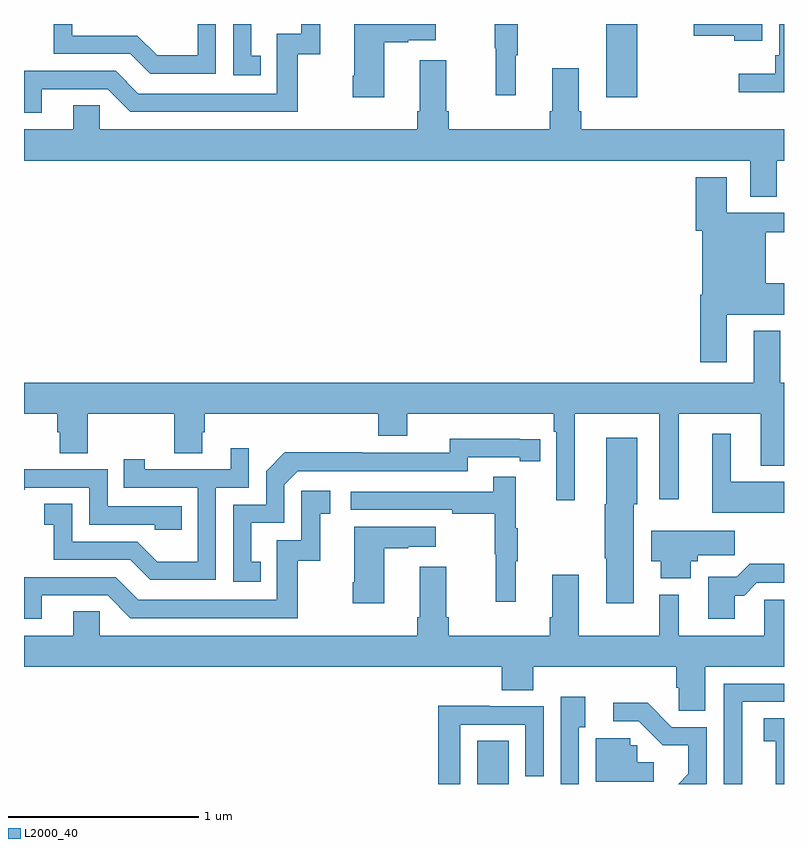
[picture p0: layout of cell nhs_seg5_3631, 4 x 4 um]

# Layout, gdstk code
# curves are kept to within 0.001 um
import gdstk
lib = gdstk.Library(unit=1e-6, precision=1e-09)
def R(c, l, rs):  # rectangles x0, y0, x1, y1
    for r in rs: c.add(gdstk.rectangle(r[:2], r[2:], *l))
def P(c, l, *ps):  # polygons
    for p in ps: c.add(gdstk.Polygon(p, *l))
L2000_40 = (2000, 40)

nhs_seg5_3631 = lib.new_cell('nhs_seg5_3631')
R(nhs_seg5_3631, L2000_40, [(327.386,866.799,327.55,867.026), (328.064,870.414,328.228,870.799)])
P(nhs_seg5_3631, L2000_40, [(328.885,870.799),(328.524,870.799),(328.524,870.737),(328.739,870.737),(328.739,870.71),(328.885,870.71)],
  [(325.093,870.456),(325.44,870.456),(325.56,870.336),(326.44,870.336),(326.44,870.639),(326.558,870.639),(326.558,870.799),(326.46,870.799),(326.46,870.747),(326.331,870.747),(326.331,870.432),(325.602,870.432),(325.482,870.552),(325,870.552),(325,870.333),(325.093,870.333)],
  [(326.01,870.799),(325.914,870.799),(325.914,870.634),(325.7,870.634),(325.596,870.738),(325.254,870.738),(325.254,870.799),(325.156,870.799),(325.156,870.642),(325.559,870.642),(325.664,870.537),(326.01,870.537)],
  [(326.246,870.633),(326.197,870.633),(326.197,870.799),(326.1,870.799),(326.1,870.528),(326.246,870.528)],
  [(327.587,870.635),(327.598,870.635),(327.598,870.799),(327.477,870.799),(327.477,870.672),(327.484,870.672),(327.484,870.423),(327.587,870.423)],
  [(326.896,870.703),(327.023,870.703),(327.023,870.713),(327.166,870.713),(327.166,870.799),(326.738,870.799),(326.738,870.526),(326.731,870.526),(326.731,870.414),(326.896,870.414)],
  [(329,870.799),(328.974,870.799),(328.974,870.634),(328.954,870.634),(328.954,870.538),(328.761,870.538),(328.761,870.44),(329,870.44)],
  [(328.963,870.08),(329,870.08),(329,870.244),(327.932,870.244),(327.932,870.34),(327.919,870.34),(327.919,870.565),(327.779,870.565),(327.779,870.34),(327.767,870.34),(327.767,870.244),(327.236,870.244),(327.236,870.34),(327.223,870.34),(327.223,870.607),(327.083,870.607),(327.083,870.34),(327.071,870.34),(327.071,870.244),(325.398,870.244),(325.398,870.371),(325.259,870.371),(325.259,870.244),(325,870.244),(325,870.08),(328.823,870.08),(328.823,869.89),(328.963,869.89)],
  [(328.699,869.27),(329,869.27),(329,869.434),(328.903,869.434),(328.903,869.704),(329,869.704),(329,869.805),(328.699,869.805),(328.699,869.992),(328.535,869.992),(328.535,869.712),(328.571,869.712),(328.571,869.374),(328.559,869.374),(328.559,869.019),(328.699,869.019)],
  [(325,868.748),(325.175,868.748),(325.175,868.65),(325.187,868.65),(325.187,868.54),(325.335,868.54),(325.335,868.748),(325.792,868.748),(325.792,868.54),(325.939,868.54),(325.939,868.65),(325.952,868.65),(325.952,868.748),(326.864,868.748),(326.864,868.631),(327.016,868.631),(327.016,868.748),(327.788,868.748),(327.788,868.652),(327.801,868.652),(327.801,868.293),(327.898,868.293),(327.898,868.748),(328.343,868.748),(328.343,868.299),(328.447,868.299),(328.447,868.748),(328.877,868.748),(328.877,868.475),(329,868.475),(329,868.912),(328.981,868.912),(328.981,869.185),(328.841,869.185),(328.841,868.912),(325,868.912)],
  [(329,868.39),(328.72,868.39),(328.72,868.642),(328.622,868.642),(328.622,868.226),(329,868.226)],
  [(328.21,868.272),(328.228,868.272),(328.228,868.621),(328.064,868.621),(328.064,868.272),(328.057,868.272),(328.057,867.988),(328.064,867.988),(328.064,867.75),(328.21,867.75)],
  [(326.246,867.969),(326.197,867.969),(326.197,868.173),(326.37,868.173),(326.37,868.374),(326.442,868.446),(327.336,868.446),(327.336,868.518),(327.608,868.518),(327.608,868.498),(327.716,868.498),(327.716,868.614),(327.24,868.615),(327.24,868.542),(326.78,868.542),(326.78,868.544),(326.372,868.544),(326.274,868.446),(326.274,868.269),(326.1,868.269),(326.1,867.864),(326.246,867.864)],
  [(326.01,868.359),(326.184,868.359),(326.184,868.567),(326.087,868.567),(326.087,868.455),(325.636,868.455),(325.636,868.507),(325.525,868.507),(325.525,868.359),(325.914,868.359),(325.914,867.97),(325.7,867.97),(325.596,868.074),(325.254,868.074),(325.254,868.273),(325.107,868.273),(325.107,868.163),(325.156,868.163),(325.156,867.978),(325.559,867.978),(325.664,867.873),(326.01,867.873)],
  [(325.829,868.26),(325.44,868.26),(325.44,868.455),(325,868.455),(325,868.347),(325.003,868.347),(325.003,868.359),(325.344,868.359),(325.344,868.164),(325.689,868.164),(325.689,868.137),(325.829,868.137)],
  [(327.587,867.971),(327.598,867.971),(327.598,868.145),(327.587,868.145),(327.587,868.417),(327.469,868.417),(327.469,868.338),(326.721,868.338),(326.721,868.242),(327.253,868.242),(327.253,868.222),(327.477,868.222),(327.477,868.008),(327.484,868.008),(327.484,867.759),(327.587,867.759)],
  [(325.093,867.792),(325.44,867.792),(325.56,867.672),(326.44,867.672),(326.44,867.975),(326.558,867.975),(326.558,868.221),(326.611,868.221),(326.611,868.342),(326.46,868.342),(326.46,868.083),(326.331,868.083),(326.331,867.768),(325.602,867.768),(325.482,867.888),(325,867.888),(325,867.669),(325.093,867.669)],
  [(326.896,868.039),(327.023,868.039),(327.023,868.049),(327.166,868.049),(327.166,868.153),(326.738,868.153),(326.738,867.862),(326.731,867.862),(326.731,867.75),(326.896,867.75)],
  [(328.51,867.971),(328.546,867.971),(328.546,868.003),(328.741,868.003),(328.741,868.132),(328.302,868.132),(328.302,867.971),(328.352,867.971),(328.352,867.881),(328.51,867.881)],
  [(328.741,867.791),(328.79,867.791),(328.857,867.858),(329,867.858),(329,867.959),(328.82,867.959),(328.75,867.889),(328.601,867.889),(328.601,867.669),(328.741,867.669)],
  [(328.585,867.416),(329,867.416),(329,867.77),(328.896,867.77),(328.896,867.58),(328.447,867.58),(328.447,867.796),(328.343,867.796),(328.343,867.58),(327.919,867.58),(327.919,867.901),(327.779,867.901),(327.779,867.676),(327.767,867.676),(327.767,867.58),(327.236,867.58),(327.236,867.676),(327.223,867.676),(327.223,867.943),(327.083,867.943),(327.083,867.676),(327.071,867.676),(327.071,867.58),(325.398,867.58),(325.398,867.707),(325.259,867.707),(325.259,867.58),(325,867.58),(325,867.416),(327.515,867.416),(327.515,867.292),(327.68,867.292),(327.68,867.416),(328.433,867.416),(328.433,867.306),(328.447,867.306),(328.447,867.184),(328.585,867.184)],
  [(328.78,867.231),(329,867.231),(329,867.327),(328.683,867.327),(328.683,866.799),(328.78,866.799)],
  [(327.921,867.098),(327.955,867.098),(327.955,867.259),(327.825,867.259),(327.825,866.799),(327.921,866.799)],
  [(328.593,866.801),(328.593,867.099),(328.41,867.099),(328.282,867.227),(328.101,867.227),(328.101,867.129),(328.236,867.129),(328.363,867.002),(328.496,867.002),(328.496,866.852),(328.443,866.799),(328.591,866.799)],
  [(327.297,867.111),(327.639,867.111),(327.639,866.841),(327.735,866.841),(327.735,867.207),(327.451,867.207),(327.451,867.211),(327.181,867.211),(327.181,866.799),(327.297,866.799)],
  [(329,867.146),(328.893,867.146),(328.893,867.025),(328.956,867.025),(328.956,866.799),(329,866.799)],
  [(328.315,866.914),(328.227,866.914),(328.227,867.003),(328.191,867.003),(328.191,867.039),(328.01,867.039),(328.01,866.811),(328.315,866.811)])

lib.write_gds('nhs_seg5_3631.gds')
